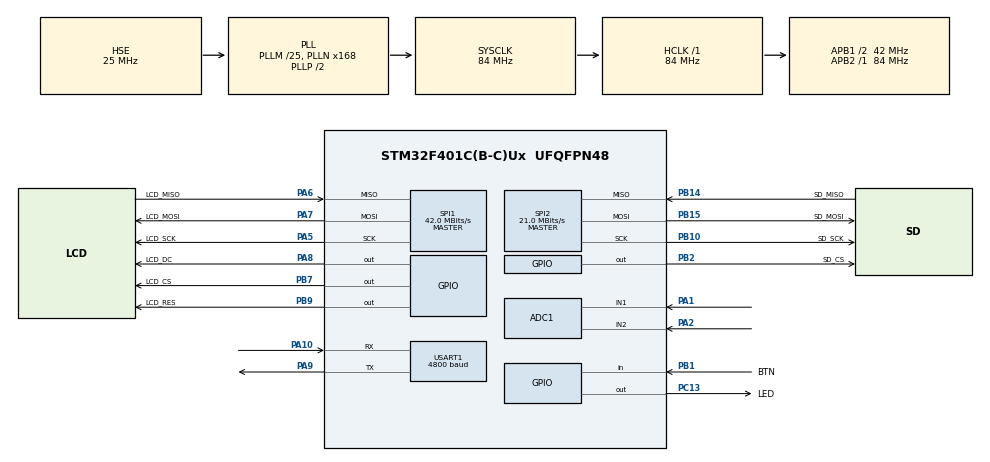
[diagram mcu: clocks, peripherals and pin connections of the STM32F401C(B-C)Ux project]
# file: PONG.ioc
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ADC1.Channel-0\#ChannelRegularConversion=ADC_CHANNEL_1
ADC1.Channel-1\#ChannelRegularConversion=ADC_CHANNEL_2
ADC1.ContinuousConvMode=DISABLE
ADC1.DMAContinuousRequests=DISABLE
ADC1.DiscontinuousConvMode=ENABLE
ADC1.InjNumberOfConversion=0
ADC1.NbrOfConversion=2
ADC1.NbrOfConversionFlag=1
ADC1.NbrOfDiscConversion=1
ADC1.Rank-0\#ChannelRegularConversion=1
ADC1.Rank-1\#ChannelRegularConversion=2
ADC1.SamplingTime-0\#ChannelRegularConversion=ADC_SAMPLETIME_3CYCLES
ADC1.SamplingTime-1\#ChannelRegularConversion=ADC_SAMPLETIME_3CYCLES
ADC1.ScanConvMode=ENABLE
ADC1.master=1
Dma.Request0=USART1_RX
Dma.Request1=USART1_TX
Dma.USART1_RX.0.Direction=DMA_PERIPH_TO_MEMORY
Dma.USART1_RX.0.FIFOMode=DMA_FIFOMODE_DISABLE
Dma.USART1_RX.0.Instance=DMA2_Stream2
Dma.USART1_RX.0.MemDataAlignment=DMA_MDATAALIGN_BYTE
Dma.USART1_RX.0.MemInc=DMA_MINC_ENABLE
Dma.USART1_RX.0.Mode=DMA_CIRCULAR
Dma.USART1_RX.0.PeriphDataAlignment=DMA_PDATAALIGN_BYTE
Dma.USART1_RX.0.PeriphInc=DMA_PINC_DISABLE
Dma.USART1_RX.0.Priority=DMA_PRIORITY_LOW
Dma.USART1_TX.1.Direction=DMA_MEMORY_TO_PERIPH
Dma.USART1_TX.1.FIFOMode=DMA_FIFOMODE_DISABLE
Dma.USART1_TX.1.Instance=DMA2_Stream7
Dma.USART1_TX.1.MemDataAlignment=DMA_MDATAALIGN_BYTE
Dma.USART1_TX.1.MemInc=DMA_MINC_ENABLE
Dma.USART1_TX.1.Mode=DMA_CIRCULAR
Dma.USART1_TX.1.PeriphDataAlignment=DMA_PDATAALIGN_BYTE
Dma.USART1_TX.1.PeriphInc=DMA_PINC_DISABLE
Dma.USART1_TX.1.Priority=DMA_PRIORITY_LOW
Mcu.Family=STM32F4
Mcu.Name=STM32F401C(B-C)Ux
Mcu.Package=UFQFPN48
NVIC.DMA2_Stream2_IRQn=true\:0\:0\:false\:false\:true\:false\:true\:true
NVIC.DMA2_Stream7_IRQn=true\:0\:0\:false\:false\:true\:false\:true\:true
NVIC.PriorityGroup=NVIC_PRIORITYGROUP_4
NVIC.TIM1_TRG_COM_TIM11_IRQn=true\:0\:0\:false\:false\:true\:true\:true\:true
NVIC.TIM1_UP_TIM10_IRQn=true\:0\:0\:true\:false\:true\:true\:true\:true
PA1.Signal=ADCx_IN1
PA10.Mode=Asynchronous
PA10.Signal=USART1_RX
PA2.Signal=ADCx_IN2
PA5.GPIO_Label=LCD_SCK
PA5.Mode=Full_Duplex_Master
PA5.Signal=SPI1_SCK
PA6.GPIO_Label=LCD_MISO
PA6.Mode=Full_Duplex_Master
PA6.Signal=SPI1_MISO
PA7.GPIO_Label=LCD_MOSI
PA7.Mode=Full_Duplex_Master
PA7.Signal=SPI1_MOSI
PA8.GPIO_Label=LCD_DC
PA8.Signal=GPIO_Output
PA9.Mode=Asynchronous
PA9.Signal=USART1_TX
PB1.GPIO_Label=BTN
PB1.GPIO_PuPd=GPIO_PULLUP
PB1.Signal=GPIO_Input
PB10.GPIO_Label=SD_SCK
PB10.Mode=Full_Duplex_Master
PB10.Signal=SPI2_SCK
PB14.GPIO_Label=SD_MISO
PB14.Mode=Full_Duplex_Master
PB14.Signal=SPI2_MISO
PB15.GPIO_Label=SD_MOSI
PB15.Mode=Full_Duplex_Master
PB15.Signal=SPI2_MOSI
PB2.GPIO_Label=SD_CS
PB2.Signal=GPIO_Output
PB7.GPIO_Label=LCD_CS
PB7.Signal=GPIO_Output
PB9.GPIO_Label=LCD_RES
PB9.Signal=GPIO_Output
PC13-ANTI_TAMP.GPIO_Label=LED
PC13-ANTI_TAMP.GPIO_ModeDefaultOutputPP=GPIO_MODE_OUTPUT_PP
PC13-ANTI_TAMP.GPIO_PuPd=GPIO_NOPULL
PC13-ANTI_TAMP.PinState=GPIO_PIN_SET
PC13-ANTI_TAMP.Signal=GPIO_Output
PC14-OSC32_IN.Mode=LSE-External-Oscillator
PC14-OSC32_IN.Signal=RCC_OSC32_IN
PC15-OSC32_OUT.Mode=LSE-External-Oscillator
PC15-OSC32_OUT.Signal=RCC_OSC32_OUT
PH0\ -\ OSC_IN.Mode=HSE-External-Oscillator
PH0\ -\ OSC_IN.Signal=RCC_OSC_IN
PH1\ -\ OSC_OUT.Mode=HSE-External-Oscillator
PH1\ -\ OSC_OUT.Signal=RCC_OSC_OUT
ProjectManager.HeapSize=0x200
ProjectManager.StackSize=0x400
ProjectManager.TargetToolchain=STM32CubeIDE
RCC.48MHZClocksFreq_Value=42000000
RCC.AHBFreq_Value=84000000
RCC.APB1CLKDivider=RCC_HCLK_DIV2
RCC.APB1Freq_Value=42000000
RCC.APB1TimFreq_Value=84000000
RCC.APB2Freq_Value=84000000
RCC.APB2TimFreq_Value=84000000
RCC.CortexFreq_Value=84000000
RCC.HCLKFreq_Value=84000000
RCC.HSE_VALUE=25000000
RCC.HSI_VALUE=16000000
RCC.PLLM=25
RCC.PLLN=168
RCC.PLLSourceVirtual=RCC_PLLSOURCE_HSE
RCC.SYSCLKFreq_VALUE=84000000
RCC.SYSCLKSource=RCC_SYSCLKSOURCE_PLLCLK
RCC.VCOOutputFreq_Value=168000000
SH.ADCx_IN1.0=ADC1_IN1,IN1
SH.ADCx_IN2.0=ADC1_IN2,IN2
SPI1.BaudRatePrescaler=SPI_BAUDRATEPRESCALER_2
SPI1.CalculateBaudRate=42.0 MBits/s
SPI1.Direction=SPI_DIRECTION_2LINES
SPI1.Mode=SPI_MODE_MASTER
SPI1.VirtualType=VM_MASTER
SPI2.BaudRatePrescaler=SPI_BAUDRATEPRESCALER_2
SPI2.CalculateBaudRate=21.0 MBits/s
SPI2.Direction=SPI_DIRECTION_2LINES
SPI2.Mode=SPI_MODE_MASTER
SPI2.VirtualType=VM_MASTER
TIM10.Period=200-1
TIM10.Prescaler=5000-1
TIM11.AutoReloadPreload=TIM_AUTORELOAD_PRELOAD_DISABLE
TIM11.Period=1000-1
TIM11.Prescaler=8400-1
USART1.BaudRate=4800
USART1.VirtualMode=VM_ASYNC
VP_FATFS_VS_Generic.Mode=User_defined
VP_TIM10_VS_ClockSourceINT.Mode=Enable_Timer
VP_TIM11_VS_ClockSourceINT.Mode=Enable_Timer
board=custom

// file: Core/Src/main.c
/* USER CODE BEGIN Header */
/**
  ******************************************************************************

  * @file           : main.c

  * @brief          : Main program body

  ******************************************************************************
	Autorzy: Patryk Zemła, Karol Michalski

	Gra Pong wykorzystująca joysticki analogowe

  	Funkcje:
  	doGameTick() - wykonuje ruch piłki
  	restartGame() - restartuje/inicjalizuje grę
  	movePlayersPaddles() - sprawdza wychylenie joysticków i na tej podstawie przesuwa paletki
  	gameOver() - zatrzymuje timer sterujący piłką i paletkami oraz wyświetla ekran końca gry

  ******************************************************************************
  */

/* USER CODE END Header */
#include "main.h"
#include "adc.h"
#include "dma.h"
#include "fatfs.h"
#include "spi.h"
#include "tim.h"
#include "usart.h"
#include "gpio.h"

/* USER CODE BEGIN Includes */

//#include "stdlib.h"
//#include "math.h"
//#include "limits.h"

#ifndef DEFINITIONS_H_
#define DEFINITIONS_H_
#include "definitions.h"
#endif

#include "display.h"
#include "game.h"
#include "sd.h"
/* USER CODE END Includes */

/* USER CODE BEGIN PV */
int sd_err = 0;

int flag=0;
player p1;
player p2;
ball b;

/* USER CODE END PV */

void SystemClock_Config(void);
/* USER CODE BEGIN PFP */

void HAL_TIM_PeriodElapsedCallback(TIM_HandleTypeDef *htim);

/* USER CODE END PFP */

int main(void)
{

  /* MCU Configuration--------------------------------------------------------*/

  /* Reset of all peripherals, Initializes the Flash interface and the Systick. */
  HAL_Init();

  /* Configure the system clock */
  SystemClock_Config();

  /* Initialize all configured peripherals */
  MX_GPIO_Init();
  MX_DMA_Init();
  MX_SPI1_Init();
  MX_TIM10_Init();
  MX_SPI2_Init();
  MX_FATFS_Init();
  MX_ADC1_Init();
  MX_TIM11_Init();
  MX_USART1_UART_Init();
  /* USER CODE BEGIN 2 */
  ST7735_Init();
  HAL_TIM_Base_Start_IT(&htim11);
  HAL_UART_Init(&huart1);
  restartGame(&b, &p1, &p2);

  HAL_Delay(500);

  sd_err = SD_Init();

  HAL_TIM_Base_Start_IT(&GAME_TIMER);

  /* USER CODE END 2 */

  /* Infinite loop */
  while (1)
  {

  }
}

void SystemClock_Config(void)
{
  RCC_OscInitTypeDef RCC_OscInitStruct = {0};
  RCC_ClkInitTypeDef RCC_ClkInitStruct = {0};

  /** Configure the main internal regulator output voltage
  */
  __HAL_RCC_PWR_CLK_ENABLE();
  __HAL_PWR_VOLTAGESCALING_CONFIG(PWR_REGULATOR_VOLTAGE_SCALE2);

  /** Initializes the RCC Oscillators according to the specified parameters
  * in the RCC_OscInitTypeDef structure.
  */
  RCC_OscInitStruct.OscillatorType = RCC_OSCILLATORTYPE_HSE;
  RCC_OscInitStruct.HSEState = RCC_HSE_ON;
  RCC_OscInitStruct.PLL.PLLState = RCC_PLL_ON;
  RCC_OscInitStruct.PLL.PLLSource = RCC_PLLSOURCE_HSE;
  RCC_OscInitStruct.PLL.PLLM = 25;
  RCC_OscInitStruct.PLL.PLLN = 168;
  RCC_OscInitStruct.PLL.PLLP = RCC_PLLP_DIV2;
  RCC_OscInitStruct.PLL.PLLQ = 4;
  if (HAL_RCC_OscConfig(&RCC_OscInitStruct) != HAL_OK)
  {
    Error_Handler();
  }

  /** Initializes the CPU, AHB and APB buses clocks
  */
  RCC_ClkInitStruct.ClockType = RCC_CLOCKTYPE_HCLK|RCC_CLOCKTYPE_SYSCLK
                              |RCC_CLOCKTYPE_PCLK1|RCC_CLOCKTYPE_PCLK2;
  RCC_ClkInitStruct.SYSCLKSource = RCC_SYSCLKSOURCE_PLLCLK;
  RCC_ClkInitStruct.AHBCLKDivider = RCC_SYSCLK_DIV1;
  RCC_ClkInitStruct.APB1CLKDivider = RCC_HCLK_DIV2;
  RCC_ClkInitStruct.APB2CLKDivider = RCC_HCLK_DIV1;

  if (HAL_RCC_ClockConfig(&RCC_ClkInitStruct, FLASH_LATENCY_2) != HAL_OK)
  {
    Error_Handler();
  }
}

/* USER CODE BEGIN 4 */
void HAL_TIM_PeriodElapsedCallback(TIM_HandleTypeDef *htim){

	if(htim->Instance == TIM11){
		movePlayersPaddles(&p1, &p2);
	}
	if(htim->Instance== TIM10){
		if(flag==0){
		   doGameTick(&b, &p1, &p2);
		   checkGameOver(&b, &flag);
		}
		else{
		   checkRestartGame(&b, &p1, &p2, &flag);
		}
	}
}
/* USER CODE END 4 */

void Error_Handler(void)
{
  __disable_irq();
  while (1)
  {
  }
}
